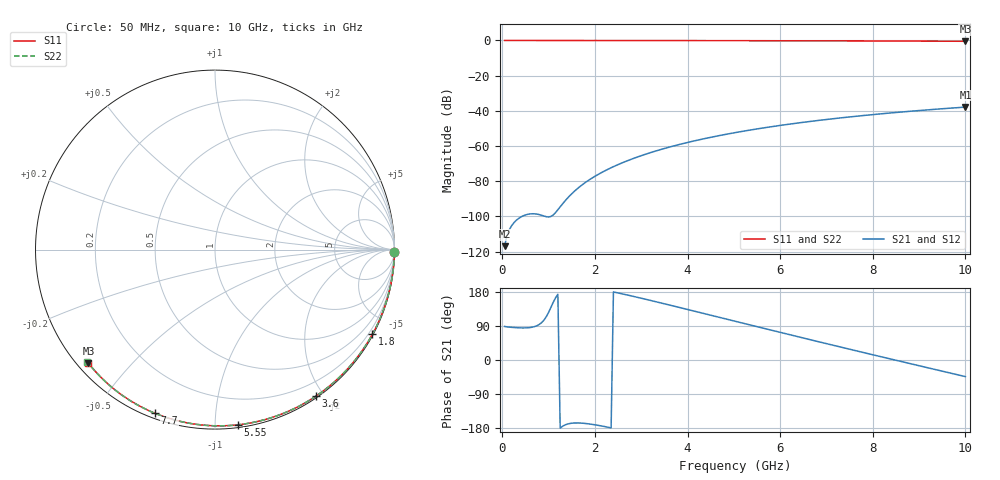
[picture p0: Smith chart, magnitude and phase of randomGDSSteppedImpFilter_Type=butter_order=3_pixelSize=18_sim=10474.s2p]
! freq	dB(S11)	phase(S11)	dB(S12)	phase(S12)
!  dB(S21)	phase(S21)	dB(S22)	phase(S22)
!S-par simulation data
#  GHz  S  DB  R 50
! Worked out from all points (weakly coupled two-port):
!   200 points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, 50 MHz to 10 GHz, reference 50 ohm
!   highest |S21| = -37.87 dB at 10 GHz (marker M1); lowest = -116.9 dB at 50 MHz (marker M2)
!   lowest |S11| = -0.5 dB at 10 GHz (marker M3), VSWR 37.08, Z = 1.55 - j19.1 ohm
!   |S11| at or under -10 dB: nowhere
!   |S22| runs from -0.5 to 0.0 dB; largest |S21 - S12| = 0
!   S11 on the Smith chart (normalised r, x): 50 MHz: open; 1.8 GHz: 0.03, -3.96; 3.6 GHz: 0.02, -1.91; 5.55 GHz: 0.02, -1.14; 7.7 GHz: 0.02, -0.70; 10 GHz: 0.03, -0.38
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0.05  -0.00 -0.8  -116.89 88.5  -116.89 88.5  -0.00 -0.8
0.45  -0.01 -7.2  -99.65 84.6  -99.65 84.6  -0.01 -7.2
0.9  -0.02 -14.3  -99.77 105.3  -99.77 105.3  -0.02 -14.4
1.75  -0.04 -27.5  -81.54 -167.0  -81.54 -167.0  -0.04 -27.7
1.8  -0.04 -28.3  -80.59 -167.6  -80.59 -167.6  -0.04 -28.4
1.85  -0.04 -29.1  -79.68 -168.3  -79.68 -168.3  -0.04 -29.2
2.05  -0.04 -32.2  -76.42 -172.0  -76.42 -172.0  -0.04 -32.3
2.25  -0.05 -35.2  -73.59 -176.6  -73.59 -176.6  -0.05 -35.4
2.55  -0.05 -39.8  -69.96 175.7  -69.96 175.7  -0.05 -39.9
2.95  -0.06 -45.8  -65.91 164.5  -65.91 164.5  -0.06 -45.9
3.4  -0.07 -52.4  -62.13 151.3  -62.13 151.3  -0.07 -52.6
3.6  -0.07 -55.3  -60.64 145.4  -60.64 145.4  -0.07 -55.5
3.9  -0.08 -59.6  -58.60 136.4  -58.60 136.4  -0.08 -59.9
4.3  -0.09 -65.3  -56.15 124.3  -56.15 124.3  -0.09 -65.6
5.05  -0.12 -75.8  -52.26 101.6  -52.26 101.6  -0.12 -76.1
5.55  -0.14 -82.5  -50.06 86.5  -50.06 86.5  -0.14 -82.8
6.1  -0.16 -89.8  -47.91 69.9  -47.91 69.9  -0.16 -90.2
6.7  -0.19 -97.6  -45.84 52.0  -45.84 52.0  -0.19 -97.9
7.7  -0.25 -110.2  -42.91 22.5  -42.91 22.5  -0.25 -110.6
8.35  -0.30 -118.2  -41.27 3.6  -41.27 3.6  -0.30 -118.6
9.2  -0.38 -128.5  -39.40 -20.9  -39.40 -20.9  -0.38 -129.0
10  -0.47 -138.1  -37.87 -43.8  -37.87 -43.8  -0.47 -138.6
